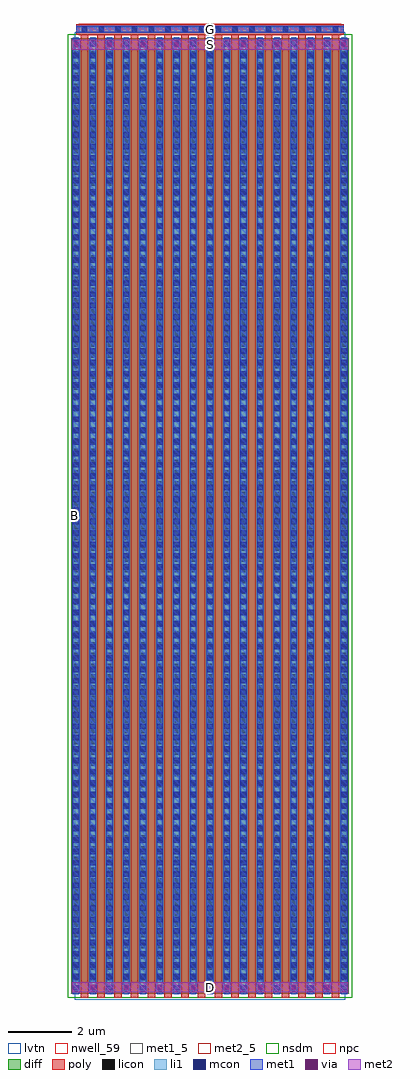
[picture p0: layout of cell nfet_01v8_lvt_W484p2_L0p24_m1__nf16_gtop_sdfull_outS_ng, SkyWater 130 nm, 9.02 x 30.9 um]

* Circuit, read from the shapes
.subckt nfet_01v8_lvt_W484p2_L0p24_m1__nf16_gtop_sdfull_outS_ng B D G S
XM1 D G S B sky130_fd_pr__nfet_01v8_lvt w=30.26 l=0.24 m=16
.ends

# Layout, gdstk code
import gdstk
lib = gdstk.Library(unit=1e-6, precision=1e-09)
def R(c, l, rs):  # rectangles x0, y0, x1, y1
    for r in rs: c.add(gdstk.rectangle(r[:2], r[2:], *l))
def A(c, l, x, y, w, h, nx, ny, dx, dy):  # array of equal rectangles
    R(c, l, [(x+i*dx, y+j*dy, x+i*dx+w, y+j*dy+h) for i in range(nx) for j in range(ny)])
nwell_59 = (64, 59)
diff = (65, 20)
poly = (66, 20)
licon = (66, 44)
li1 = (67, 20)
mcon = (67, 44)
met1_5 = (68, 5)
met1 = (68, 20)
via = (68, 44)
met2_5 = (69, 5)
met2 = (69, 20)
nsdm = (93, 44)
npc = (95, 20)
lvtn = (125, 44)

sky130_fd_pr__nfet_01v8_ = lib.new_cell('sky130_fd_pr__nfet_01v8_lvt_RSS4KK')
R(sky130_fd_pr__nfet_01v8_, diff, [(-4.385,-15.285,4.385,14.975)])
A(sky130_fd_pr__nfet_01v8_, poly, -4.095, -15.415, 0.24, 30.5, 16, 1, 0.53, 0)
R(sky130_fd_pr__nfet_01v8_, poly, [(-4.24,15.085,4.24,15.415)])
A(sky130_fd_pr__nfet_01v8_, licon, -4.325, -15.2, 0.17, 0.17, 17, 89, 0.53, 0.34)
A(sky130_fd_pr__nfet_01v8_, licon, -4.06, 15.165, 0.17, 0.17, 16, 1, 0.53, 0)
A(sky130_fd_pr__nfet_01v8_, li1, -4.325, -15.305, 0.17, 30.3, 17, 1, 0.53, 0)
R(sky130_fd_pr__nfet_01v8_, li1, [(-4.24,15.165,4.24,15.335)])
A(sky130_fd_pr__nfet_01v8_, mcon, -4.325, -15.18, 0.17, 0.17, 17, 84, 0.53, 0.36)
A(sky130_fd_pr__nfet_01v8_, mcon, -4.06, 15.165, 0.17, 0.17, 16, 1, 0.53, 0)
A(sky130_fd_pr__nfet_01v8_, met1, -4.355, -15.285, 0.23, 30.26, 17, 1, 0.53, 0)
A(sky130_fd_pr__nfet_01v8_, met1, -4.12, 15.135, 0.29, 0.03, 16, 2, 0.53, 0.2)
R(sky130_fd_pr__nfet_01v8_, met1, [(-4.24,15.165,4.24,15.335)])
R(sky130_fd_pr__nfet_01v8_, nsdm, [(-4.51,-15.41,4.51,15.1)])
R(sky130_fd_pr__nfet_01v8_, npc, [(-4.16,15.065,4.16,15.435)])
R(sky130_fd_pr__nfet_01v8_, lvtn, [(-4.275,-15.465,4.275,15.155)])
sky130_fd_pr__nfet_01v8_.add(gdstk.Label('D0', (-4.24,-0.155), layer=67, texttype=5))
sky130_fd_pr__nfet_01v8_.add(gdstk.Label('G', (3.975,15.25), layer=67, texttype=5))
sky130_fd_pr__nfet_01v8_.add(gdstk.Label('G', (3.445,15.25), layer=67, texttype=5))
sky130_fd_pr__nfet_01v8_.add(gdstk.Label('G', (2.915,15.25), layer=67, texttype=5))
sky130_fd_pr__nfet_01v8_.add(gdstk.Label('G', (2.385,15.25), layer=67, texttype=5))
sky130_fd_pr__nfet_01v8_.add(gdstk.Label('G', (1.855,15.25), layer=67, texttype=5))
sky130_fd_pr__nfet_01v8_.add(gdstk.Label('G', (1.325,15.25), layer=67, texttype=5))
sky130_fd_pr__nfet_01v8_.add(gdstk.Label('G', (0.795,15.25), layer=67, texttype=5))
sky130_fd_pr__nfet_01v8_.add(gdstk.Label('G', (0.265,15.25), layer=67, texttype=5))
sky130_fd_pr__nfet_01v8_.add(gdstk.Label('G', (-0.265,15.25), layer=67, texttype=5))
sky130_fd_pr__nfet_01v8_.add(gdstk.Label('G', (-0.795,15.25), layer=67, texttype=5))
sky130_fd_pr__nfet_01v8_.add(gdstk.Label('G', (-1.325,15.25), layer=67, texttype=5))
sky130_fd_pr__nfet_01v8_.add(gdstk.Label('G', (-1.855,15.25), layer=67, texttype=5))
sky130_fd_pr__nfet_01v8_.add(gdstk.Label('G', (-2.385,15.25), layer=67, texttype=5))
sky130_fd_pr__nfet_01v8_.add(gdstk.Label('G', (-2.915,15.25), layer=67, texttype=5))
sky130_fd_pr__nfet_01v8_.add(gdstk.Label('G', (-3.445,15.25), layer=67, texttype=5))
sky130_fd_pr__nfet_01v8_.add(gdstk.Label('G', (-3.975,15.25), layer=67, texttype=5))
sky130_fd_pr__nfet_01v8_.add(gdstk.Label('S1', (-3.71,-0.155), layer=67, texttype=5))
sky130_fd_pr__nfet_01v8_.add(gdstk.Label('D2', (-3.18,-0.155), layer=67, texttype=5))
sky130_fd_pr__nfet_01v8_.add(gdstk.Label('S3', (-2.65,-0.155), layer=67, texttype=5))
sky130_fd_pr__nfet_01v8_.add(gdstk.Label('D4', (-2.12,-0.155), layer=67, texttype=5))
sky130_fd_pr__nfet_01v8_.add(gdstk.Label('S5', (-1.59,-0.155), layer=67, texttype=5))
sky130_fd_pr__nfet_01v8_.add(gdstk.Label('D6', (-1.06,-0.155), layer=67, texttype=5))
sky130_fd_pr__nfet_01v8_.add(gdstk.Label('S7', (-0.53,-0.155), layer=67, texttype=5))
sky130_fd_pr__nfet_01v8_.add(gdstk.Label('D8', (0,-0.155), layer=67, texttype=5))
sky130_fd_pr__nfet_01v8_.add(gdstk.Label('S9', (0.53,-0.155), layer=67, texttype=5))
sky130_fd_pr__nfet_01v8_.add(gdstk.Label('D10', (1.06,-0.155), layer=67, texttype=5))
sky130_fd_pr__nfet_01v8_.add(gdstk.Label('S11', (1.59,-0.155), layer=67, texttype=5))
sky130_fd_pr__nfet_01v8_.add(gdstk.Label('D12', (2.12,-0.155), layer=67, texttype=5))
sky130_fd_pr__nfet_01v8_.add(gdstk.Label('S13', (2.65,-0.155), layer=67, texttype=5))
sky130_fd_pr__nfet_01v8_.add(gdstk.Label('D14', (3.18,-0.155), layer=67, texttype=5))
sky130_fd_pr__nfet_01v8_.add(gdstk.Label('S15', (3.71,-0.155), layer=67, texttype=5))

nfet_01v8_lvt_w484p2_l0p = lib.new_cell('nfet_01v8_lvt_W484p2_L0p24_m1__nf16_gtop_sdfull_outS_ng')
R(nfet_01v8_lvt_w484p2_l0p, nwell_59, [(0.05,15.21,0.15,15.31)])
R(nfet_01v8_lvt_w484p2_l0p, met1_5, [(0.145,30.55,8.625,30.78)])
A(nfet_01v8_lvt_w484p2_l0p, met1, 0.545, 0.18, 0.26, 0.32, 8, 1, 1.06, 0)
A(nfet_01v8_lvt_w484p2_l0p, met1, 0.015, 30.02, 0.26, 0.32, 9, 1, 1.06, 0)
R(nfet_01v8_lvt_w484p2_l0p, met1, [(0.145,30.55,8.625,30.78)])
A(nfet_01v8_lvt_w484p2_l0p, via, 0.6, 0.265, 0.15, 0.15, 8, 1, 1.06, 0)
A(nfet_01v8_lvt_w484p2_l0p, via, 0.07, 30.105, 0.15, 0.15, 9, 1, 1.06, 0)
R(nfet_01v8_lvt_w484p2_l0p, met2_5, [(0.01,0.18,8.76,0.5), (0.01,30.02,8.76,30.34)])
R(nfet_01v8_lvt_w484p2_l0p, met2, [(0.01,0.18,8.76,0.5), (0.01,30.02,8.76,30.34)])
nfet_01v8_lvt_w484p2_l0p.add(gdstk.Reference(sky130_fd_pr__nfet_01v8_, (4.385,15.415)))
nfet_01v8_lvt_w484p2_l0p.add(gdstk.Label('S', (4.385,30.18), layer=69, texttype=5))
nfet_01v8_lvt_w484p2_l0p.add(gdstk.Label('D', (4.385,0.34), layer=69, texttype=5))
nfet_01v8_lvt_w484p2_l0p.add(gdstk.Label('G', (4.385,30.665), layer=68, texttype=5))
nfet_01v8_lvt_w484p2_l0p.add(gdstk.Label('B', (0.1,15.26), layer=64, texttype=59))

lib.write_gds('nfet_01v8_lvt_W484p2_L0p24_m1__nf16_gtop_sdfull_outS_ng.gds')
